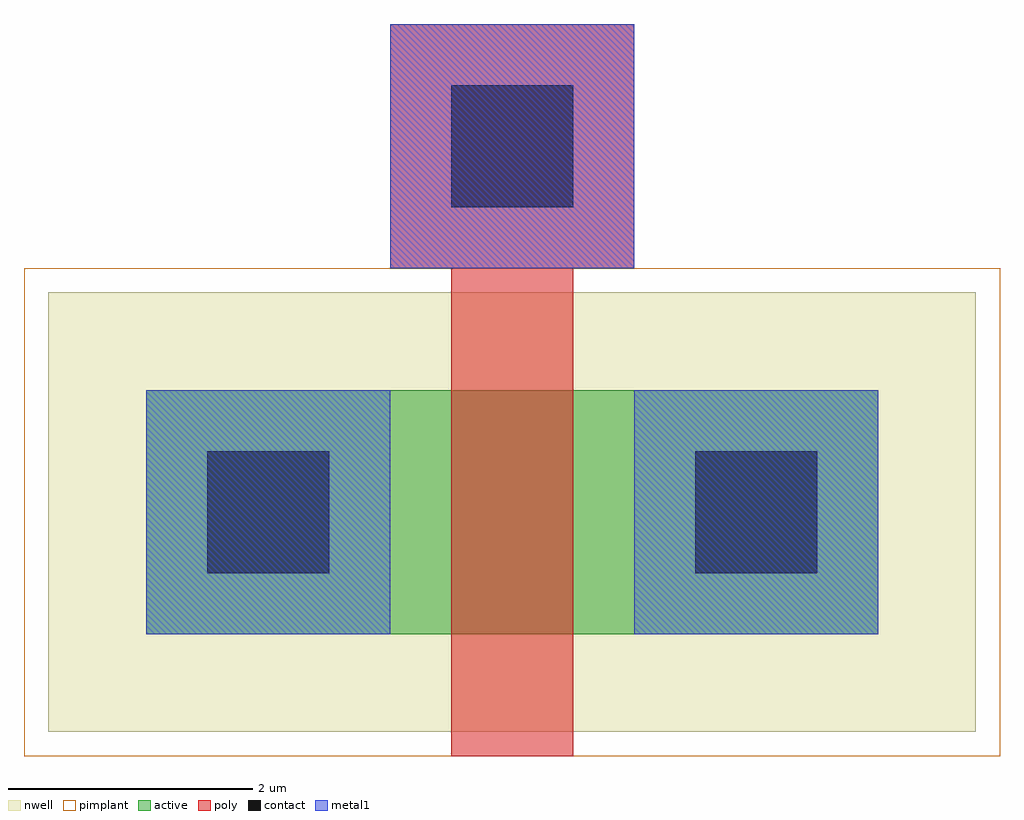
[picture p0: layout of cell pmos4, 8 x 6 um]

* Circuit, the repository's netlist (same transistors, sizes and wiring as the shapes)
* +++++++++++++++++++++++++++++++++++++++++++++++++++++++++ *
* CDL Netlist:                                              *
*                                                           *
* Cell Name  : pmos4                                        *
* Netlisted  : Fri Oct 22 07:23:57 2021                     *
* PVS Version: 16.15-s010 Fri Jun 28 22:24:07 PDT 2019      *
* +++++++++++++++++++++++++++++++++++++++++++++++++++++++++ *
*.LDD
*.DEVTMPLT 0 MN(nmos4) _nmos1v ndiff_conn(D) poly_conn(G) ndiff_conn(S) psubstrate(B)
*.DEVTMPLT 1 MP(pmos4) _pmos1v pdiff_conn(D) poly_conn(G) pdiff_conn(S) nwell_conn(B)

* +++++++++++++++++++++++++++++++++++++++++++++++++++++++++ *
* Sub cell: pmos4                                           *
* +++++++++++++++++++++++++++++++++++++++++++++++++++++++++ *
.subckt pmos4
** N=5 EP=0 FDC=1
M0 2 1 3 4 pmos4 L=1e-06 W=2e-06 AD=5e-12 AS=5e-12 PD=9e-06 PS=9e-06 fw=2e-06 sa=2e-06 sb=2e-06 $X=7000 $Y=2000 $dt=1
.ends pmos4

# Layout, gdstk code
import gdstk
lib = gdstk.Library(unit=1e-6, precision=5e-10)
def R(c, l, rs):  # rectangles x0, y0, x1, y1
    for r in rs: c.add(gdstk.rectangle(r[:2], r[2:], *l))
active = (1, 0)
nwell = (2, 0)
poly = (3, 0)
pimplant = (5, 0)
contact = (6, 0)
metal1 = (7, 0)

pmos4 = lib.new_cell('pmos4')
R(pmos4, active, [(1,1,7,3)])
R(pmos4, nwell, [(0.2,0.2,7.8,3.8)])
R(pmos4, poly, [(3.5,0,4.5,4), (3.6,3.6,4.4,3.9), (3,4,5,6)])
R(pmos4, pimplant, [(0,0,8,4)])
R(pmos4, contact, [(1.5,1.5,2.5,2.5), (5.5,1.5,6.5,2.5), (3.5,4.5,4.5,5.5)])
R(pmos4, metal1, [(1,1,3,3), (5,1,7,3), (1.3,1.3,2.7,2.7), (5.3,1.3,6.7,2.7), (3,4,5,6), (3.3,4.3,4.7,5.7)])

lib.write_gds('pmos4.gds')
